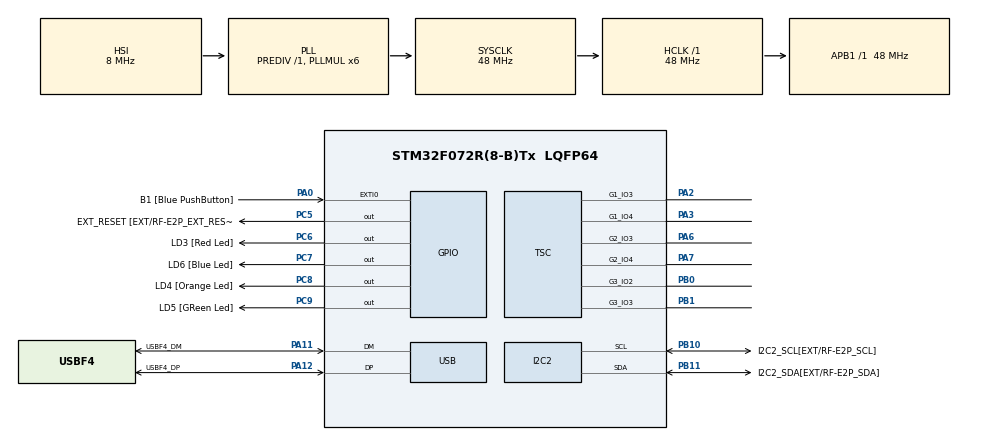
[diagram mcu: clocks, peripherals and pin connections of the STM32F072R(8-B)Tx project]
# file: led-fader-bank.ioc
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I2C2.Timing=0x20303E5D
Mcu.Family=STM32F0
Mcu.Name=STM32F072R(8-B)Tx
Mcu.Package=LQFP64
PA0.GPIO_Label=B1 [Blue PushButton]
PA0.GPIO_ModeDefaultEXTI=GPIO_MODE_EVT_RISING
PA0.Signal=GPXTI0
PA11.GPIO_Label=USBF4_DM
PA11.Mode=Device
PA11.Signal=USB_DM
PA12.GPIO_Label=USBF4_DP
PA12.Mode=Device
PA12.Signal=USB_DP
PA13.GPIO_Label=SWDIO
PA13.Mode=Serial_Wire
PA13.Signal=SYS_SWDIO
PA14.GPIO_Label=SWCLK
PA14.Mode=Serial_Wire
PA14.Signal=SYS_SWCLK
PA2.Mode=G1_IO3-Channel
PA2.Signal=TSC_G1_IO3
PA3.Mode=G1_IO4-Sampling
PA3.Signal=TSC_G1_IO4
PA6.Mode=G2_IO3-Channel
PA6.Signal=TSC_G2_IO3
PA7.Mode=G2_IO4-Sampling
PA7.Signal=TSC_G2_IO4
PB0.Mode=G3_IO2-Channel
PB0.Signal=TSC_G3_IO2
PB1.Mode=G3_IO3-Sampling
PB1.Signal=TSC_G3_IO3
PB10.GPIO_Label=I2C2_SCL[EXT/RF-E2P_SCL]
PB10.GPIO_Pu=GPIO_PULLUP
PB10.Mode=I2C
PB10.Signal=I2C2_SCL
PB11.GPIO_Label=I2C2_SDA[EXT/RF-E2P_SDA]
PB11.GPIO_Pu=GPIO_PULLUP
PB11.Mode=I2C
PB11.Signal=I2C2_SDA
PC5.GPIO_Label=EXT_RESET [EXT/RF-E2P_EXT_RESET]
PC5.Signal=GPIO_Output
PC6.GPIO_Label=LD3 [Red Led]
PC6.Signal=GPIO_Output
PC7.GPIO_Label=LD6 [Blue Led]
PC7.Signal=GPIO_Output
PC8.GPIO_Label=LD4 [Orange Led]
PC8.Signal=GPIO_Output
PC9.GPIO_Label=LD5 [GReen Led]
PC9.Signal=GPIO_Output
ProjectManager.HeapSize=0x200
ProjectManager.StackSize=0x400
ProjectManager.TargetToolchain=MDK-ARM V5.32
RCC.AHBFreq_Value=48000000
RCC.APB1Freq_Value=48000000
RCC.APB1TimFreq_Value=48000000
RCC.HCLKFreq_Value=48000000
RCC.PLLMUL=RCC_PLL_MUL6
RCC.SYSCLKFreq_VALUE=48000000
RCC.SYSCLKSource=RCC_SYSCLKSOURCE_PLLCLK
TSC.ChannelIOs-G1_IO3-Channel=TSC_GROUP1_IO3
TSC.ChannelIOs-G2_IO3-Channel=TSC_GROUP2_IO3
TSC.ChannelIOs-G3_IO2-Channel=TSC_GROUP3_IO2
TSC.SamplingIOs-G1_IO4-Sampling=TSC_GROUP1_IO4
TSC.SamplingIOs-G2_IO4-Sampling=TSC_GROUP2_IO4
TSC.SamplingIOs-G3_IO3-Sampling=TSC_GROUP3_IO3
USB.phy_itface=PCD_PHY_EMBEDDED
USB.speed=PCD_SPEED_FULL
board=STM32F072B-DISCO

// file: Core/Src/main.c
/* USER CODE BEGIN Header */
/**
  ******************************************************************************
  * @file           : main.c
  * @brief          : Main program body
  ******************************************************************************
  * @attention
  *
  * Copyright (c) 2022 STMicroelectronics.
  * All rights reserved.
  *
  * This software is licensed under terms that can be found in the LICENSE file
  * in the root directory of this software component.
  * If no LICENSE file comes with this software, it is provided AS-IS.
  *
  ******************************************************************************
  */
/* USER CODE END Header */
#include "main.h"
#include <stdio.h>

/* USER CODE BEGIN Includes */
/* define for the linear */
/* These values can be modified, board layout dependency */
#define TSCx_MIN_THRESHOLD       1000
#define TSCx_LOW_MAXTHRESHOLD    1290
#define TSCx_MEDIUM_MAXTHRESHOLD 1270
#define TSCx_HIGH_MAXTHRESHOLD   1245/* USER CODE END Includes */

/* USER CODE BEGIN PTD */

void sendChar(char c) {
	while (!(USART3->ISR & USART_ISR_TXE)) { }

	USART3->TDR = c;
}

void sendString(char *s) {
	while (s[0] != 0) {
		sendChar(s[0]);
		s++;
	}
}

char buf[128];

/* USER CODE END PTD */

I2C_HandleTypeDef hi2c2;

TSC_HandleTypeDef htsc;

/* Array used to store the acquisition value */
__IO uint32_t uhTSCAcquisitionValue;

PCD_HandleTypeDef hpcd_USB_FS;

void SystemClock_Config(void);
static void MX_GPIO_Init(void);
static void MX_I2C2_Init(void);
static void MX_TSC_Init(void);
static void MX_USB_PCD_Init(void);

int main(void)
{

  /* MCU Configuration--------------------------------------------------------*/

  /* Reset of all peripherals, Initializes the Flash interface and the Systick. */
  HAL_Init();

  /* Configure the system clock */
  SystemClock_Config();

  /* Initialize all configured peripherals */
  MX_GPIO_Init();
  MX_I2C2_Init();
  MX_TSC_Init();
  MX_USB_PCD_Init();

  /* USER CODE BEGIN 2 */
// hacky USART INIT
	RCC->APB1ENR |= RCC_APB1ENR_USART3EN;
  //GPIOC->MODER |= ((1<<11)|(1<<9)); // PC4 and PC5
	GPIOC->MODER |= ((1<<21)|(1<<23)); // PC10 and PC11
	//GPIOC->AFR[0] |= (1<<20); // PC5
	//GPIOC->AFR[0] |= (1<<16); // PC4
	GPIOC->AFR[1] |= 1<<8; // PC10
	GPIOC->AFR[1] |= 1<<12; // PC11

	USART3->BRR = HAL_RCC_GetHCLKFreq() / 115200;
	USART3->CR1 = USART_CR1_TE | USART_CR1_UE; /* (2) */

	sprintf(buf, "Init...\r\n");
	sendString(buf);
  /* USER CODE END 2 */

  /* Infinite loop */
  while (1)
  {

		/*##-2- Discharge the touch-sensing IOs ##################################*/
    /* Must be done before each acquisition */
    HAL_TSC_IODischarge(&htsc, ENABLE);
    HAL_Delay(1); /* 1 ms is more than enough to discharge all capacitors */

    /*##-3- Start the acquisition process ####################################*/
    if (HAL_TSC_Start(&htsc) != HAL_OK)
    {
      /* Acquisition Error */
      Error_Handler();
    }

    /*##-4- Wait for the end of acquisition ##################################*/
    /*  Before starting a new acquisition, you need to check the current state of
         the peripheral; if itТs busy you need to wait for the end of current
         acquisition before starting a new one. */
    while (HAL_TSC_GetState(&htsc) == HAL_TSC_STATE_BUSY)
    {
      /* For simplicity reasons, this example is just waiting till the end of the
         acquisition, but application may perform other tasks while acquisition
         operation is ongoing. */
    }

    /*##-5- Clear flags ######################################################*/
    __HAL_TSC_CLEAR_FLAG(&htsc, (TSC_FLAG_EOA | TSC_FLAG_MCE));

    /*##-6- Check if the acquisition is correct (no max count) ###############*/
    if (HAL_TSC_GroupGetStatus(&htsc, TSC_GROUP1_IDX) == TSC_GROUP_COMPLETED)
    {
      /*##-7- Store the acquisition value ####################################*/
      uhTSCAcquisitionValue = HAL_TSC_GroupGetValue(&htsc, TSC_GROUP1_IDX);

			sprintf(buf, "%d\r\n", uhTSCAcquisitionValue);
			sendString(buf);

      /* Show touch activity on LEDs */
      /* Threshold values are indicative and may need to be adjusted */
      if ((uhTSCAcquisitionValue > TSCx_MIN_THRESHOLD) && (uhTSCAcquisitionValue < TSCx_LOW_MAXTHRESHOLD))
      {
        BSP_LED_On(LED4);
        if (uhTSCAcquisitionValue < TSCx_MEDIUM_MAXTHRESHOLD)
        {
          BSP_LED_On(LED6);
          if (uhTSCAcquisitionValue < TSCx_HIGH_MAXTHRESHOLD)
          {
            BSP_LED_On(LED5);
          }
          else
          {
            BSP_LED_Off(LED5);
          }
        }
        else
        {
          BSP_LED_Off(LED6);
          BSP_LED_Off(LED5);
        }
      }
      else
      {
        BSP_LED_Off(LED4);
        BSP_LED_Off(LED6);
        BSP_LED_Off(LED5);
      }
    }

  }
}

void SystemClock_Config(void)
{
  RCC_OscInitTypeDef RCC_OscInitStruct = {0};
  RCC_ClkInitTypeDef RCC_ClkInitStruct = {0};
  RCC_PeriphCLKInitTypeDef PeriphClkInit = {0};

  /** Initializes the RCC Oscillators according to the specified parameters
  * in the RCC_OscInitTypeDef structure.
  */
  RCC_OscInitStruct.OscillatorType = RCC_OSCILLATORTYPE_HSI|RCC_OSCILLATORTYPE_HSI48;
  RCC_OscInitStruct.HSIState = RCC_HSI_ON;
  RCC_OscInitStruct.HSI48State = RCC_HSI48_ON;
  RCC_OscInitStruct.HSICalibrationValue = RCC_HSICALIBRATION_DEFAULT;
  RCC_OscInitStruct.PLL.PLLState = RCC_PLL_ON;
  RCC_OscInitStruct.PLL.PLLSource = RCC_PLLSOURCE_HSI;
  RCC_OscInitStruct.PLL.PLLMUL = RCC_PLL_MUL6;
  RCC_OscInitStruct.PLL.PREDIV = RCC_PREDIV_DIV1;
  if (HAL_RCC_OscConfig(&RCC_OscInitStruct) != HAL_OK)
  {
    Error_Handler();
  }
  /** Initializes the CPU, AHB and APB buses clocks
  */
  RCC_ClkInitStruct.ClockType = RCC_CLOCKTYPE_HCLK|RCC_CLOCKTYPE_SYSCLK
                              |RCC_CLOCKTYPE_PCLK1;
  RCC_ClkInitStruct.SYSCLKSource = RCC_SYSCLKSOURCE_PLLCLK;
  RCC_ClkInitStruct.AHBCLKDivider = RCC_SYSCLK_DIV1;
  RCC_ClkInitStruct.APB1CLKDivider = RCC_HCLK_DIV1;

  if (HAL_RCC_ClockConfig(&RCC_ClkInitStruct, FLASH_LATENCY_1) != HAL_OK)
  {
    Error_Handler();
  }
  PeriphClkInit.PeriphClockSelection = RCC_PERIPHCLK_USB;
  PeriphClkInit.UsbClockSelection = RCC_USBCLKSOURCE_HSI48;

  if (HAL_RCCEx_PeriphCLKConfig(&PeriphClkInit) != HAL_OK)
  {
    Error_Handler();
  }
}

static void MX_I2C2_Init(void)
{

  hi2c2.Instance = I2C2;
  hi2c2.Init.Timing = 0x20303E5D;
  hi2c2.Init.OwnAddress1 = 0;
  hi2c2.Init.AddressingMode = I2C_ADDRESSINGMODE_7BIT;
  hi2c2.Init.DualAddressMode = I2C_DUALADDRESS_DISABLE;
  hi2c2.Init.OwnAddress2 = 0;
  hi2c2.Init.OwnAddress2Masks = I2C_OA2_NOMASK;
  hi2c2.Init.GeneralCallMode = I2C_GENERALCALL_DISABLE;
  hi2c2.Init.NoStretchMode = I2C_NOSTRETCH_DISABLE;
  if (HAL_I2C_Init(&hi2c2) != HAL_OK)
  {
    Error_Handler();
  }
  /** Configure Analogue filter
  */
  if (HAL_I2CEx_ConfigAnalogFilter(&hi2c2, I2C_ANALOGFILTER_ENABLE) != HAL_OK)
  {
    Error_Handler();
  }
  /** Configure Digital filter
  */
  if (HAL_I2CEx_ConfigDigitalFilter(&hi2c2, 0) != HAL_OK)
  {
    Error_Handler();
  }

}

static void MX_TSC_Init(void)
{

  /** Configure the TSC peripheral
  */
  htsc.Instance                     = TSCx;
  htsc.Init.AcquisitionMode         = TSC_ACQ_MODE_NORMAL;
  htsc.Init.CTPulseHighLength       = TSC_CTPH_1CYCLE;
  htsc.Init.CTPulseLowLength        = TSC_CTPL_1CYCLE;
  htsc.Init.IODefaultMode           = TSC_IODEF_IN_FLOAT; /* Because the electrodes are interlaced on this board */
  htsc.Init.MaxCountInterrupt       = DISABLE;
  htsc.Init.MaxCountValue           = TSC_MCV_16383;
  htsc.Init.PulseGeneratorPrescaler = TSC_PG_PRESC_DIV64;
  htsc.Init.SpreadSpectrum          = DISABLE;
  htsc.Init.SpreadSpectrumDeviation = 127;
  htsc.Init.SpreadSpectrumPrescaler = TSC_SS_PRESC_DIV1;
  htsc.Init.SynchroPinPolarity      = TSC_SYNC_POLARITY_FALLING;
  htsc.Init.ChannelIOs              = TSC_GROUP1_IO3; /* TS1 touchkey */
  htsc.Init.SamplingIOs             = (TSC_GROUP1_IO4 | TSC_GROUP2_IO4 | TSC_GROUP3_IO3);
  htsc.Init.ShieldIOs               = 0;
  if (HAL_TSC_Init(&htsc) != HAL_OK)
  {
    Error_Handler();
  }

}

static void MX_USB_PCD_Init(void)
{

  hpcd_USB_FS.Instance = USB;
  hpcd_USB_FS.Init.dev_endpoints = 8;
  hpcd_USB_FS.Init.speed = PCD_SPEED_FULL;
  hpcd_USB_FS.Init.phy_itface = PCD_PHY_EMBEDDED;
  hpcd_USB_FS.Init.low_power_enable = DISABLE;
  hpcd_USB_FS.Init.lpm_enable = DISABLE;
  hpcd_USB_FS.Init.battery_charging_enable = DISABLE;
  if (HAL_PCD_Init(&hpcd_USB_FS) != HAL_OK)
  {
    Error_Handler();
  }

}

static void MX_GPIO_Init(void)
{
  GPIO_InitTypeDef GPIO_InitStruct = {0};

  /* GPIO Ports Clock Enable */
  __HAL_RCC_GPIOA_CLK_ENABLE();
  __HAL_RCC_GPIOC_CLK_ENABLE();
  __HAL_RCC_GPIOB_CLK_ENABLE();

  /*Configure GPIO pin Output Level */
  HAL_GPIO_WritePin(GPIOC, EXT_RESET_Pin|LD3_Pin|LD6_Pin|LD4_Pin
                          |LD5_Pin, GPIO_PIN_RESET);

  /*Configure GPIO pin : B1_Pin */
  GPIO_InitStruct.Pin = B1_Pin;
  GPIO_InitStruct.Mode = GPIO_MODE_EVT_RISING;
  GPIO_InitStruct.Pull = GPIO_NOPULL;
  HAL_GPIO_Init(B1_GPIO_Port, &GPIO_InitStruct);

  /*Configure GPIO pins : EXT_RESET_Pin LD3_Pin LD6_Pin LD4_Pin
                           LD5_Pin */
  GPIO_InitStruct.Pin = EXT_RESET_Pin|LD3_Pin|LD6_Pin|LD4_Pin
                          |LD5_Pin;
  GPIO_InitStruct.Mode = GPIO_MODE_OUTPUT_PP;
  GPIO_InitStruct.Pull = GPIO_NOPULL;
  GPIO_InitStruct.Speed = GPIO_SPEED_FREQ_LOW;
  HAL_GPIO_Init(GPIOC, &GPIO_InitStruct);

}

void Error_Handler(void)
{
  __disable_irq();
  while (1)
  {
  }
}
